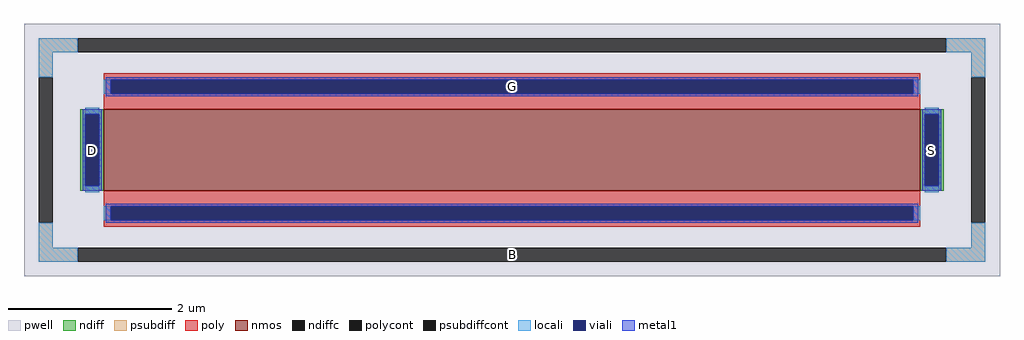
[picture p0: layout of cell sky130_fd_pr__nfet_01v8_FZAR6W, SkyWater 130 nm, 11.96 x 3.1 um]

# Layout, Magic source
magic
tech sky130A
magscale 1 2
<< pwell >>
rect -1196 -310 1196 310
<< nmos >>
rect -1000 -100 1000 100
<< ndiff >>
rect -1058 88 -1000 100
rect -1058 -88 -1046 88
rect -1012 -88 -1000 88
rect -1058 -100 -1000 -88
rect 1000 88 1058 100
rect 1000 -88 1012 88
rect 1046 -88 1058 88
rect 1000 -100 1058 -88
<< ndiffc >>
rect -1046 -88 -1012 88
rect 1012 -88 1046 88
<< psubdiff >>
rect -1160 240 -1064 274
rect 1064 240 1160 274
rect -1160 178 -1126 240
rect 1126 178 1160 240
rect -1160 -240 -1126 -178
rect 1126 -240 1160 -178
rect -1160 -274 -1064 -240
rect 1064 -274 1160 -240
<< psubdiffcont >>
rect -1064 240 1064 274
rect -1160 -178 -1126 178
rect 1126 -178 1160 178
rect -1064 -274 1064 -240
<< poly >>
rect -1000 172 1000 188
rect -1000 138 -984 172
rect 984 138 1000 172
rect -1000 100 1000 138
rect -1000 -138 1000 -100
rect -1000 -172 -984 -138
rect 984 -172 1000 -138
rect -1000 -188 1000 -172
<< polycont >>
rect -984 138 984 172
rect -984 -172 984 -138
<< locali >>
rect -1160 240 -1064 274
rect 1064 240 1160 274
rect -1160 178 -1126 240
rect 1126 178 1160 240
rect -1000 138 -984 172
rect 984 138 1000 172
rect -1046 88 -1012 104
rect -1046 -104 -1012 -88
rect 1012 88 1046 104
rect 1012 -104 1046 -88
rect -1000 -172 -984 -138
rect 984 -172 1000 -138
rect -1160 -240 -1126 -178
rect 1126 -240 1160 -178
rect -1160 -274 -1064 -240
rect 1064 -274 1160 -240
<< viali >>
rect -984 138 984 172
rect -1046 -88 -1012 88
rect 1012 -88 1046 88
rect -984 -172 984 -138
<< metal1 >>
rect -996 172 996 178
rect -996 138 -984 172
rect 984 138 996 172
rect -996 132 996 138
rect -1052 88 -1006 100
rect -1052 -88 -1046 88
rect -1012 -88 -1006 88
rect -1052 -100 -1006 -88
rect 1006 88 1052 100
rect 1006 -88 1012 88
rect 1046 -88 1052 88
rect 1006 -100 1052 -88
rect -996 -138 996 -132
rect -996 -172 -984 -138
rect 984 -172 996 -138
rect -996 -178 996 -172
<< labels >>
rlabel psubdiffcont 0 -257 0 -257 0 B
port 1 nsew
rlabel ndiffc -1029 0 -1029 0 0 D
port 2 nsew
rlabel ndiffc 1029 0 1029 0 0 S
port 3 nsew
rlabel polycont 0 155 0 155 0 G
port 4 nsew
<< properties >>
string FIXED_BBOX -1143 -257 1143 257
string gencell sky130_fd_pr__nfet_01v8
string library sky130
string parameters w 1.0 l 10.0 m 1 nf 1 diffcov 100 polycov 100 guard 1 glc 1 grc 1 gtc 1 gbc 1 tbcov 100 rlcov 100 topc 1 botc 1 poverlap 0 doverlap 1 lmin 0.15 wmin 0.42 class mosfet compatible {sky130_fd_pr__nfet_01v8 sky130_fd_pr__nfet_01v8_lvt  sky130_fd_bs_flash__special_sonosfet_star  sky130_fd_pr__nfet_g5v0d10v5 sky130_fd_pr__nfet_05v0_nvt  sky130_fd_pr__nfet_03v3_nvt} full_metal 1 conn_gates 0 viasrc 100 viadrn 100 viagate 100 viagb 0 viagr 0 viagl 0 viagt 0 doports 1
<< end >>
